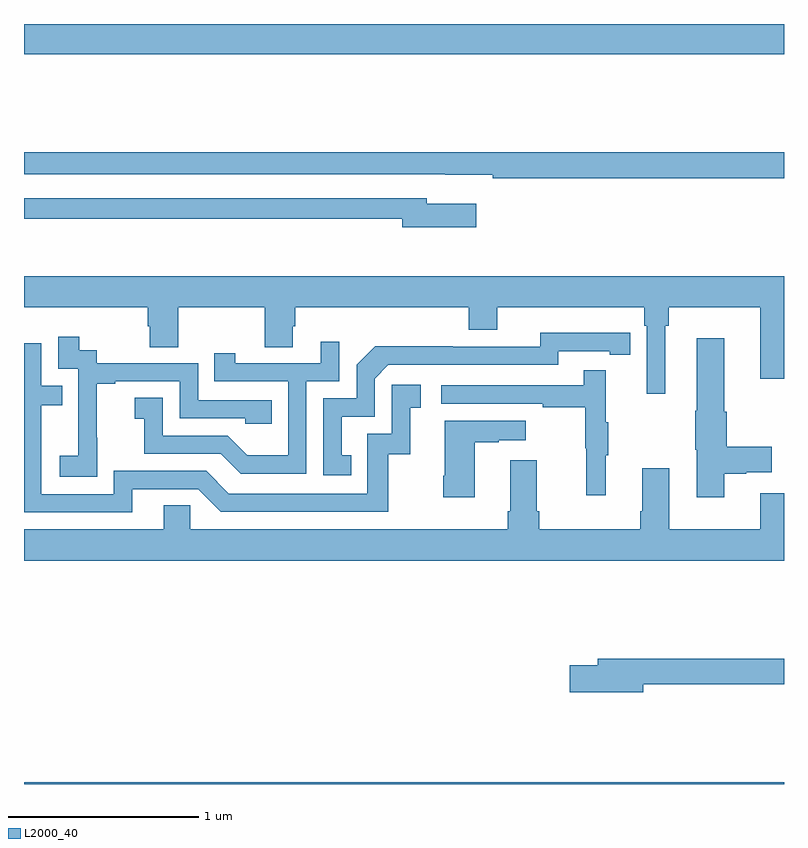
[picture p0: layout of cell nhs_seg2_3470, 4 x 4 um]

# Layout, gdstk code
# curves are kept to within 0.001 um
import gdstk
lib = gdstk.Library(unit=1e-6, precision=1e-09)
def R(c, l, rs):  # rectangles x0, y0, x1, y1
    for r in rs: c.add(gdstk.rectangle(r[:2], r[2:], *l))
def P(c, l, *ps):  # polygons
    for p in ps: c.add(gdstk.Polygon(p, *l))
L2000_40 = (2000, 40)

nhs_seg2_3470 = lib.new_cell('nhs_seg2_3470')
R(nhs_seg2_3470, L2000_40, [(293,639.8,297,639.808), (293,643.64,297,643.8)])
P(nhs_seg2_3470, L2000_40, [(297,643.124),(293,643.124),(293,643.008),(295.216,643.008),(295.216,643.007),(295.468,643.007),(295.468,642.988),(297,642.988)],
  [(295.381,642.853),(295.12,642.853),(295.12,642.882),(293,642.882),(293,642.774),(294.992,642.774),(294.992,642.731),(295.381,642.731)],
  [(296.374,642.212),(296.393,642.212),(296.393,642.308),(296.876,642.308),(296.876,641.934),(297,641.934),(297,642.472),(293,642.472),(293,642.308),(293.651,642.308),(293.651,642.21),(293.663,642.21),(293.663,642.1),(293.811,642.1),(293.811,642.308),(294.268,642.308),(294.268,642.1),(294.415,642.1),(294.415,642.21),(294.428,642.21),(294.428,642.308),(295.34,642.308),(295.34,642.191),(295.492,642.191),(295.492,642.308),(296.264,642.308),(296.264,642.212),(296.277,642.212),(296.277,641.853),(296.374,641.853)],
  [(294.722,641.529),(294.673,641.529),(294.673,641.733),(294.846,641.733),(294.846,641.934),(294.918,642.006),(295.812,642.006),(295.812,642.078),(296.084,642.078),(296.084,642.058),(296.192,642.058),(296.192,642.174),(295.716,642.175),(295.716,642.102),(295.256,642.102),(295.256,642.104),(294.848,642.104),(294.75,642.006),(294.75,641.829),(294.576,641.829),(294.576,641.424),(294.722,641.424)],
  [(293.385,641.623),(293.384,641.623),(293.384,641.907),(293.479,641.907),(293.479,641.919),(293.82,641.919),(293.82,641.724),(294.165,641.724),(294.165,641.697),(294.305,641.697),(294.305,641.82),(293.916,641.82),(293.916,642.015),(293.382,642.015),(293.382,642.084),(293.29,642.084),(293.29,642.154),(293.181,642.154),(293.181,641.985),(293.286,641.985),(293.286,641.756),(293.285,641.756),(293.285,641.527),(293.187,641.527),(293.187,641.417),(293.385,641.417)],
  [(296.686,641.434),(296.802,641.434),(296.802,641.441),(296.935,641.441),(296.935,641.576),(296.699,641.576),(296.699,641.759),(296.686,641.759),(296.686,642.145),(296.54,642.145),(296.54,641.765),(296.533,641.765),(296.533,641.559),(296.54,641.559),(296.54,641.31),(296.686,641.31)],
  [(294.486,641.919),(294.66,641.919),(294.66,642.127),(294.563,642.127),(294.563,642.015),(294.112,642.015),(294.112,642.067),(294.001,642.067),(294.001,641.919),(294.39,641.919),(294.39,641.53),(294.176,641.53),(294.072,641.634),(293.73,641.634),(293.73,641.833),(293.583,641.833),(293.583,641.723),(293.632,641.723),(293.632,641.538),(294.035,641.538),(294.14,641.433),(294.486,641.433)],
  [(293.569,641.352),(293.916,641.352),(294.036,641.232),(294.916,641.232),(294.916,641.535),(295.034,641.535),(295.034,641.781),(295.087,641.781),(295.087,641.902),(294.936,641.902),(294.936,641.643),(294.807,641.643),(294.807,641.328),(294.078,641.328),(293.958,641.448),(293.472,641.448),(293.472,641.325),(293.091,641.325),(293.091,641.794),(293.201,641.794),(293.201,641.895),(293.091,641.895),(293.091,642.12),(293,642.12),(293,641.229),(293.569,641.229)],
  [(296.063,641.531),(296.074,641.531),(296.074,641.705),(296.063,641.705),(296.063,641.977),(295.945,641.977),(295.945,641.898),(295.197,641.898),(295.197,641.802),(295.729,641.802),(295.729,641.782),(295.953,641.782),(295.953,641.568),(295.96,641.568),(295.96,641.319),(296.063,641.319)],
  [(295.372,641.599),(295.499,641.599),(295.499,641.609),(295.642,641.609),(295.642,641.713),(295.214,641.713),(295.214,641.422),(295.207,641.422),(295.207,641.31),(295.372,641.31)],
  [(297,641.329),(296.876,641.329),(296.876,641.14),(296.395,641.14),(296.395,641.461),(296.255,641.461),(296.255,641.236),(296.243,641.236),(296.243,641.14),(295.712,641.14),(295.712,641.236),(295.699,641.236),(295.699,641.503),(295.559,641.503),(295.559,641.236),(295.547,641.236),(295.547,641.14),(293.874,641.14),(293.874,641.267),(293.735,641.267),(293.735,641.14),(293,641.14),(293,640.976),(297,640.976)],
  [(296.26,640.324),(297,640.324),(297,640.46),(296.021,640.46),(296.021,640.424),(295.872,640.424),(295.872,640.282),(296.26,640.282)])

lib.write_gds('nhs_seg2_3470.gds')
